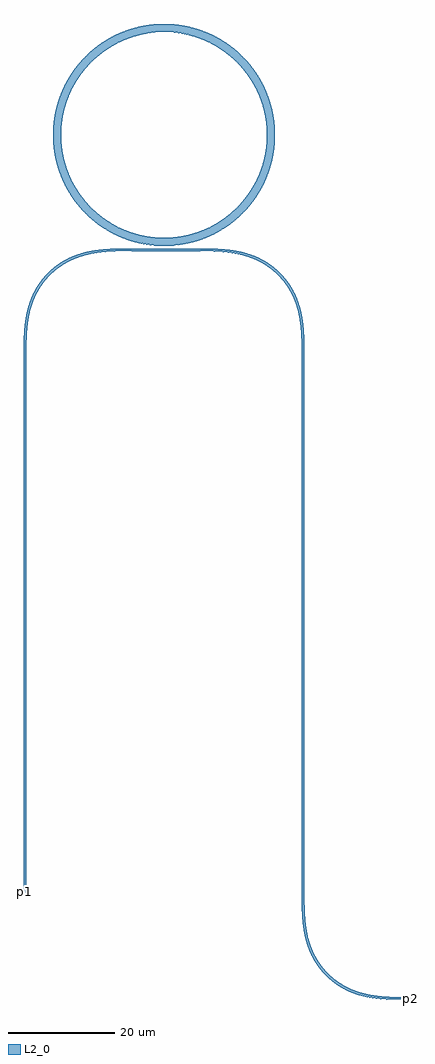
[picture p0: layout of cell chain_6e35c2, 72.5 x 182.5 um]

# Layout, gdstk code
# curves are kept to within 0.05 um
from math import pi, radians
import gdstk
lib = gdstk.Library(unit=1e-6, precision=1e-09)
def R(c, l, rs):  # rectangles x0, y0, x1, y1
    for r in rs: c.add(gdstk.rectangle(r[:2], r[2:], *l))
def P(c, l, *ps):  # polygons
    for p in ps: c.add(gdstk.Polygon(p, *l))
L2_0 = (2, 0)

ring_gdsfactorypcompone_ = lib.new_cell('ring_gdsfactorypcompone_4e276af5')
P(ring_gdsfactorypcompone_, L2_0, [(-0.109,-20.75),(-2.205,-20.633),(-4.101,-20.341),(-6.101,-19.833),(-8.008,-19.143),(-9.869,-18.253),(-11.603,-17.203),(-13.227,-15.988),(-14.775,-14.57),(-16.103,-13.087),(-17.303,-11.453),(-18.321,-9.742),(-19.171,-7.941),(-19.896,-5.893),(-20.376,-3.924),(-20.665,-1.881),(-20.75,0.109),(-20.633,2.205),(-20.341,4.101),(-19.833,6.101),(-19.143,8.008),(-18.253,9.869),(-17.203,11.603),(-15.988,13.227),(-14.57,14.775),(-13.087,16.103),(-11.453,17.303),(-9.742,18.321),(-7.941,19.171),(-5.893,19.896),(-3.924,20.376),(-1.881,20.665),(0.109,20.75),(2.205,20.633),(4.101,20.341),(6.101,19.833),(8.008,19.143),(9.869,18.253),(11.603,17.203),(13.227,15.988),(14.775,14.57),(16.103,13.087),(17.303,11.453),(18.321,9.742),(19.171,7.941),(19.875,5.963),(20.348,4.066),(20.644,2.097),(20.75,0),(19.25,0),(19.063,2.679),(18.486,5.371),(17.545,7.922),(16.869,9.274),(16.199,10.4),(14.939,12.141),(13.636,13.588),(12.167,14.918),(10.456,16.163),(8.439,17.302),(6.331,18.179),(4.134,18.801),(1.812,19.165),(-0.403,19.246),(-2.679,19.063),(-4.95,18.603),(-7.055,17.911),(-9.274,16.869),(-11.179,15.672),(-13.005,14.193),(-14.638,12.502),(-16.108,10.541),(-17.302,8.439),(-18.146,6.426),(-18.801,4.134),(-19.165,1.812),(-19.241,-0.605),(-19.029,-2.912),(-18.514,-5.274),(-17.72,-7.522),(-16.688,-9.596),(-15.374,-11.585),(-13.754,-13.469),(-12.73,-14.44),(-11.639,-15.333),(-10.541,-16.108),(-9.303,-16.853),(-7.922,-17.545),(-6.71,-18.043),(-4.134,-18.801),(-2.679,-19.063),(-1.276,-19.208),(0.134,-19.25),(1.51,-19.191),(2.912,-19.029),(4.33,-18.757),(5.596,-18.419),(7.055,-17.911),(9.45,-16.771),(11.585,-15.374),(13.469,-13.754),(15.252,-11.745),(16.163,-10.456),(16.965,-9.097),(17.667,-7.645),(18.245,-6.14),(18.654,-4.755),(18.992,-3.144),(19.191,-1.51),(19.25,0),(20.75,0),(20.75,-0.109),(20.633,-2.205),(20.341,-4.101),(19.833,-6.101),(19.143,-8.008),(18.253,-9.869),(17.203,-11.603),(15.988,-13.227),(14.57,-14.775),(13.087,-16.103),(11.453,-17.303),(9.742,-18.321),(7.941,-19.171),(5.893,-19.896),(3.924,-20.376),(1.881,-20.665)])

straight_gdsfactorypcom_ = lib.new_cell('straight_gdsfactorypcom_6d750cf1')
R(straight_gdsfactorypcom_, L2_0, [(0,-0.25,12,0.25)])

c_straight_gdsfactorypcom_ = lib.new_cell('straight_gdsfactorypcom_81186240')
R(c_straight_gdsfactorypcom_, L2_0, [(0,-0.25,100,0.25)])

bend_euler_gdsfactorypc_ = lib.new_cell('bend_euler_gdsfactorypc_b2302c42')
P(bend_euler_gdsfactorypc_, L2_0, [(0,-0.25),(0,0.25),(3.272,0.287),(5.549,0.433),(7.684,0.741),(9.579,1.216),(11.112,1.789),(12.614,2.563),(14.01,3.514),(15.245,4.593),(16.385,5.861),(17.283,7.134),(18.054,8.544),(18.709,10.187),(19.217,12.106),(19.55,14.287),(19.713,16.728),(19.75,20),(20.25,20),(20.215,16.778),(20.076,14.519),(19.772,12.336),(19.359,10.596),(18.716,8.795),(17.927,7.233),(16.923,5.738),(15.716,4.356),(14.383,3.171),(12.899,2.151),(11.205,1.284),(9.469,0.66),(7.664,0.228),(5.481,-0.076),(3.222,-0.215)])

io_coupler_1_l12_w0_5_r2 = lib.new_cell('io_Coupler_1_L12_w0.5_r20_ee61d3')
io_coupler_1_l12_w0_5_r2.add(gdstk.Reference(straight_gdsfactorypcom_, (0,0)))
io_coupler_1_l12_w0_5_r2.add(gdstk.Reference(c_straight_gdsfactorypcom_, (-20,-20), rotation=3*pi/2))
io_coupler_1_l12_w0_5_r2.add(gdstk.Reference(c_straight_gdsfactorypcom_, (32,-20), rotation=3*pi/2))
io_coupler_1_l12_w0_5_r2.add(gdstk.Reference(bend_euler_gdsfactorypc_, (32,-20), rotation=pi/2))
io_coupler_1_l12_w0_5_r2.add(gdstk.Reference(bend_euler_gdsfactorypc_, (0,0), rotation=pi))
io_coupler_1_l12_w0_5_r2.add(gdstk.Reference(bend_euler_gdsfactorypc_, (32,-120), rotation=3*pi/2))

chain_6e35c2 = lib.new_cell('chain_6e35c2')
P(chain_6e35c2, L2_0, [(1168,-121.75),(1167.775,-121.525),(1167.812,-121.525),(1168,-121.715),(1168,-121.525),(1167.775,-121.525),(1167.75,-121.5),(1168.25,-121.5)],
  [(1240,-141.75),(1240,-141.5),(1240.025,-141.5),(1240.025,-141.688),(1240.215,-141.5),(1240,-141.5),(1240,-141.25),(1240.25,-141.5)])
chain_6e35c2.add(gdstk.Reference(ring_gdsfactorypcompone_, (1194,20)))
chain_6e35c2.add(gdstk.Reference(io_coupler_1_l12_w0_5_r2, (1188,-1.5)))
chain_6e35c2.add(gdstk.Label('p1', (1168,-121.5), layer=2, texttype=0))
chain_6e35c2.add(gdstk.Label('p2', (1240,-141.5), layer=2, texttype=0))

lib.write_gds('chain_6e35c2.gds')
